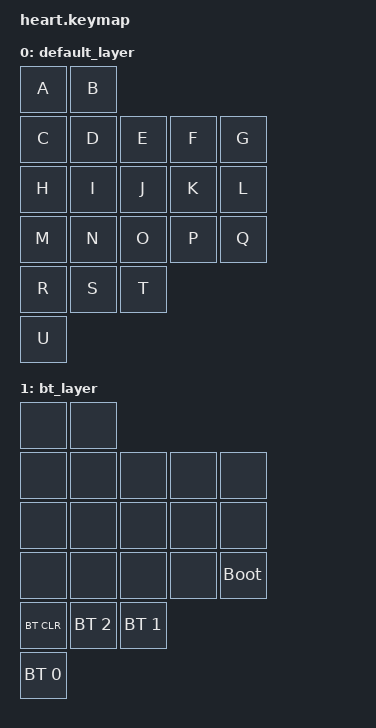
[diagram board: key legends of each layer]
#include <behaviors.dtsi>
#include <dt-bindings/zmk/keys.h>
#include <dt-bindings/zmk/bt.h>

/ {
    keymap {
        compatible = "zmk,keymap";

        default_layer {
            bindings = <
                &kp A   &kp B
                &kp C   &kp D   &kp E   &kp F   &kp G
                &kp H   &kp I   &kp J   &kp K   &kp L
                &kp M   &kp N   &kp O   &kp P   &kp Q
                &kp R   &kp S   &kp T 
                &kp U
            >;
        };

        bt_layer {
            bindings = <
                &none   &none
                &none   &none   &none   &none   &none
                &none   &none   &none   &none   &none
                &none   &none   &none   &none   &bootloader
                &bt BT_CLR  &bt BT_SEL 2   &bt BT_SEL 1
                &bt BT_SEL 0
            >;
        };
    };
 };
